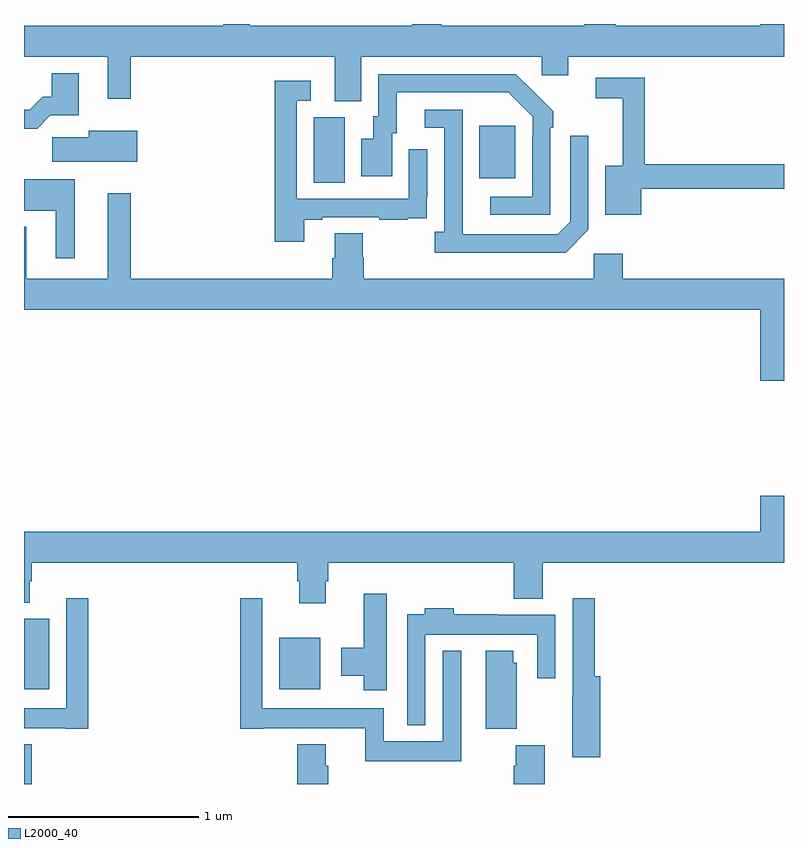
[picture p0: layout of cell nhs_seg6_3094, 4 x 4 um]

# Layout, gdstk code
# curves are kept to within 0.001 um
import gdstk
lib = gdstk.Library(unit=1e-6, precision=1e-09)
def R(c, l, rs):  # rectangles x0, y0, x1, y1
    for r in rs: c.add(gdstk.rectangle(r[:2], r[2:], *l))
def P(c, l, *ps):  # polygons
    for p in ps: c.add(gdstk.Polygon(p, *l))
L2000_40 = (2000, 40)

nhs_seg6_3094 = lib.new_cell('nhs_seg6_3094')
R(nhs_seg6_3094, L2000_40, [(293,951.5,293.042,951.709), (293,951.998,293.134,952.369), (294.344,951.998,294.559,952.27), (294.524,954.664,294.688,955.008), (295.397,954.689,295.585,954.964)])
P(nhs_seg6_3094, L2000_40, [(294.775,955.328),(295.725,955.328),(295.725,955.23),(295.864,955.23),(295.864,955.328),(297,955.328),(297,955.5),(296.876,955.5),(296.876,955.492),(296.114,955.492),(296.114,955.5),(295.949,955.5),(295.949,955.492),(295.196,955.492),(295.196,955.5),(295.043,955.5),(295.043,955.492),(294.187,955.492),(294.187,955.5),(294.048,955.5),(294.048,955.492),(293,955.492),(293,955.328),(293.441,955.328),(293.441,955.107),(293.563,955.107),(293.563,955.328),(294.635,955.328),(294.635,955.093),(294.775,955.093)],
  [(293.138,955.019),(293.287,955.019),(293.287,955.24),(293.147,955.24),(293.147,955.117),(293.098,955.117),(293.031,955.05),(293,955.05),(293,954.95),(293.069,954.95)],
  [(295.77,954.953),(295.785,954.953),(295.785,955.041),(295.588,955.236),(294.864,955.236),(294.864,955.014),(294.839,955.014),(294.839,954.895),(294.776,954.895),(294.776,954.699),(294.937,954.699),(294.937,954.924),(294.961,954.924),(294.961,955.14),(295.549,955.14),(295.677,955.011),(295.677,954.911),(295.674,954.911),(295.674,954.591),(295.455,954.591),(295.455,954.495),(295.77,954.495)],
  [(296.248,954.633),(297,954.633),(297,954.761),(296.267,954.761),(296.267,955.218),(296.01,955.218),(296.01,955.11),(296.15,955.11),(296.15,954.754),(296.06,954.754),(296.06,954.497),(296.248,954.497)],
  [(294.475,954.471),(294.571,954.471),(294.571,954.483),(294.871,954.483),(294.871,954.471),(295.019,954.471),(295.019,954.477),(295.121,954.477),(295.121,954.586),(295.122,954.586),(295.122,954.841),(295.026,954.841),(295.026,954.579),(294.435,954.579),(294.435,955.095),(294.508,955.095),(294.508,955.201),(294.319,955.201),(294.319,954.354),(294.475,954.354)],
  [(295.971,954.417),(295.971,954.913),(295.875,954.913),(295.875,954.459),(295.809,954.393),(295.309,954.393),(295.308,955.05),(295.11,955.05),(295.11,954.954),(295.212,954.954),(295.212,954.406),(295.161,954.406),(295.161,954.296),(295.85,954.296)],
  [(293.596,954.937),(293.342,954.937),(293.342,954.905),(293.148,954.905),(293.148,954.776),(293.596,954.776)],
  [(293.266,954.682),(293,954.682),(293,954.518),(293.168,954.518),(293.168,954.267),(293.266,954.267)],
  [(297,954.16),(296.15,954.16),(296.15,954.292),(295.998,954.292),(295.998,954.16),(294.788,954.16),(294.788,954.273),(294.783,954.273),(294.783,954.398),(294.635,954.398),(294.635,954.266),(294.623,954.266),(294.623,954.16),(293.563,954.16),(293.563,954.61),(293.441,954.61),(293.441,954.16),(293.011,954.16),(293.011,954.433),(293,954.433),(293,953.996),(296.876,953.996),(296.876,953.622),(297,953.622)],
  [(294.589,952.566),(294.602,952.566),(294.602,952.664),(295.577,952.664),(295.577,952.475),(295.729,952.475),(295.729,952.664),(297,952.664),(297,953.017),(296.876,953.017),(296.876,952.828),(293,952.828),(293,952.454),(293.029,952.454),(293.029,952.566),(293.042,952.566),(293.042,952.664),(294.437,952.664),(294.437,952.566),(294.449,952.566),(294.449,952.452),(294.589,952.452)],
  [(294.91,952.501),(294.788,952.501),(294.788,952.218),(294.671,952.218),(294.671,952.07),(294.788,952.07),(294.788,951.993),(294.91,951.993)],
  [(295.3,952.201),(295.203,952.201),(295.203,951.724),(294.894,951.724),(294.894,951.898),(294.255,951.898),(294.255,952.477),(294.139,952.477),(294.139,951.792),(294.262,951.792),(294.262,951.794),(294.797,951.794),(294.797,951.62),(295.3,951.62)],
  [(293.339,952.477),(293.223,952.477),(293.223,951.898),(293,951.898),(293,951.794),(293.216,951.794),(293.216,951.792),(293.339,951.792)],
  [(296.033,952.066),(296.003,952.066),(296.003,952.477),(295.887,952.477),(295.887,951.962),(295.886,951.962),(295.886,951.642),(296.033,951.642)],
  [(295.113,952.286),(295.701,952.286),(295.701,952.056),(295.797,952.056),(295.797,952.39),(295.493,952.39),(295.493,952.393),(295.262,952.393),(295.262,952.426),(295.109,952.426),(295.109,952.393),(295.017,952.393),(295.017,951.809),(295.113,951.809)],
  [(295.594,952.137),(295.576,952.137),(295.576,952.201),(295.43,952.201),(295.43,951.79),(295.594,951.79)],
  [(294.602,951.597),(294.589,951.597),(294.589,951.709),(294.437,951.709),(294.437,951.5),(294.602,951.5)],
  [(295.742,951.705),(295.589,951.705),(295.589,951.596),(295.577,951.596),(295.577,951.5),(295.742,951.5)])

lib.write_gds('nhs_seg6_3094.gds')
